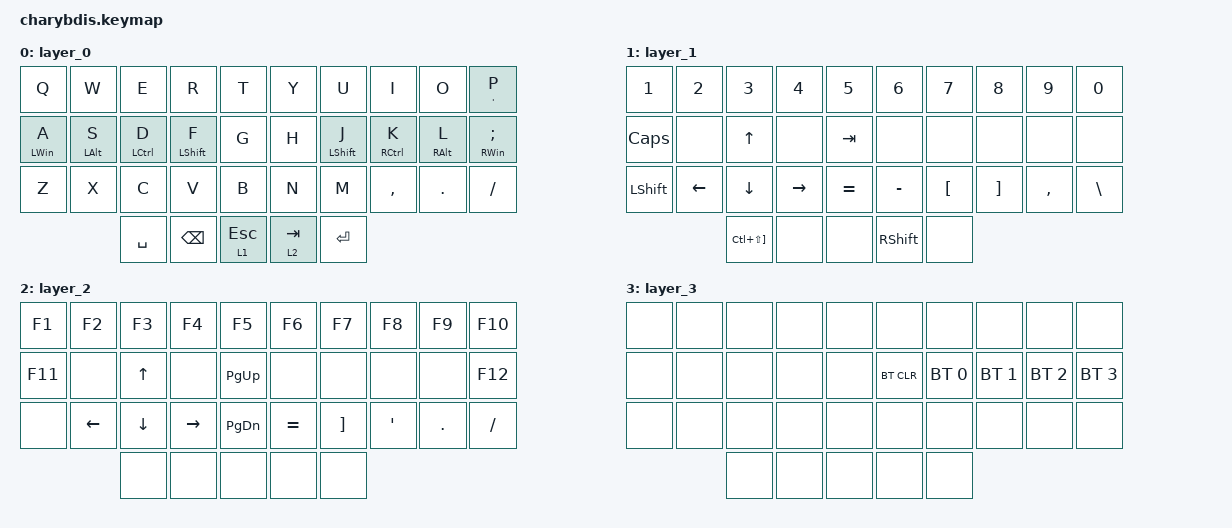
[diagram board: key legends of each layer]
#include <behaviors.dtsi>
#include <dt-bindings/zmk/bt.h>
#include <dt-bindings/zmk/keys.h>
#include <dt-bindings/zmk/pointing.h>
#include <dt-bindings/zmk/rgb.h>

&lt {
    tapping-term-ms = <200>;
    flavor = "balanced";
    quick-tap-ms = <150>;
};

/ {
    macros {
        To1_macro: To1_macro {
            compatible = "zmk,behavior-macro";
            label = "To1_macro";
            #binding-cells = <0>;
            bindings = <&rgb_ug RGB_EFF &rgb_ug RGB_COLOR_HSB(128,100,50) &to 1>;
        };

        To0_macro: To0_macro {
            compatible = "zmk,behavior-macro";
            label = "To0_macro";
            #binding-cells = <0>;
            bindings = <&rgb_ug RGB_EFR &to 0>;
        };

        To2_macro: To2_macro {
            compatible = "zmk,behavior-macro";
            label = "To2_macro";
            #binding-cells = <0>;
            bindings =
                <&to 0>,
                <&macro_wait_time 30>,
                <&rgb_ug RGB_COLOR_HSB(250,100,50)>;
        };
    };

    combos {
        compatible = "zmk,combos";

        leftclick {
            bindings = <&mkp LCLK>;
            key-positions = <26 27>;
        };

        rightclick {
            bindings = <&mkp RCLK>;
            key-positions = <27 28>;
        };

        midclick {
            bindings = <&mkp MCLK>;
            key-positions = <26 27 28>;
        };

        scroll-up {
            bindings = <&msc SCRL_UP>;
            key-positions = <7 8>;
        };

        scrldown {
            bindings = <&msc SCRL_DOWN>;
            key-positions = <17 18>;
        };

        next-tab {
            bindings = <&kp LC(TAB)>;
            key-positions = <7 6>;
        };

        prev-tab {
            bindings = <&kp LC(LS(TAB))>;
            key-positions = <16 17>;
        };

        screenshot {
            bindings = <&kp LC(LS(RIGHT_BRACKET))>;
            key-positions = <4 29>;
        };
    };

    keymap {
        compatible = "zmk,keymap";

        layer_0 {
            bindings = <
&kp Q           &kp W           &kp E        &kp R             &kp T           &kp Y      &kp U             &kp I        &kp O            &mt SQT P
&mt LEFT_WIN A  &mt LEFT_ALT S  &mt LCTRL D  &mt LEFT_SHIFT F  &kp G           &kp H      &mt LEFT_SHIFT J  &mt RCTRL K  &mt RIGHT_ALT L  &mt RWIN SEMICOLON
&kp Z           &kp X           &kp C        &kp V             &kp B           &kp N      &kp M             &kp COMMA    &kp DOT          &kp FSLH
                                &kp SPACE    &kp BACKSPACE     &lt 1 ESCAPE    &lt 2 TAB  &kp ENTER
            >;
        };

        layer_1 {
            bindings = <
&kp NUMBER_1    &kp NUMBER_2    &kp NUMBER_3               &kp NUMBER_4  &kp N5       &kp NUMBER_6     &kp N7            &kp N8             &kp N9     &kp N0
&kp CAPS        &none           &kp UP_ARROW               &none         &kp TAB      &none            &none             &none              &none      &none
&kp LEFT_SHIFT  &kp LEFT_ARROW  &kp DOWN                   &kp RIGHT     &kp EQUAL    &kp MINUS        &kp LEFT_BRACKET  &kp RIGHT_BRACKET  &kp COMMA  &kp BACKSLASH
                                &kp LC(LS(RIGHT_BRACKET))  &none         &none        &kp RIGHT_SHIFT  &none
            >;
        };

        layer_2 {
            bindings = <
&kp F1   &kp F2          &kp F3          &kp F4           &kp F5           &kp F6     &kp F7    &kp F8   &kp F9      &kp F10
&kp F11  &none           &kp UP_ARROW    &none            &kp PAGE_UP      &none      &none     &none    &none       &kp F12
&none    &kp LEFT_ARROW  &kp DOWN_ARROW  &kp RIGHT_ARROW  &kp PAGE_DOWN    &kp EQUAL  &kp RBKT  &kp SQT  &kp PERIOD  &kp SLASH
                         &none           &none            &none            &none      &none
            >;
        };

        layer_3 {
            bindings = <
&none  &none  &none  &none  &none    &none       &none         &none         &none         &none
&none  &none  &none  &none  &none    &bt BT_CLR  &bt BT_SEL 0  &bt BT_SEL 1  &bt BT_SEL 2  &bt BT_SEL 3
&none  &none  &none  &none  &none    &none       &none         &none         &none         &none
              &none  &none  &none    &none       &none
            >;
        };

        /* layer_2 {
            bindings = <
&none  &none   &none    &none   &none         &none         &kp N1         &none         &none     &none  &none   &to 0
&none  &none   &none    &none   &none         &none         &none         &none          &rgb_ug RGB_BRD &rgb_ug RGB_BRI  &rgb_ug RGB_EFF   &rgb_ug RGB_TOG
&none  &none   &none    &none   &none         &none         &none         &mkp LCLK     &mkp RCLK  &none  &none   &none
&none  &none   &none    &none   &bt BT_NXT  &bt BT_CLR    &none         &none         &none     &none  &none   &none
                                   &none         &none         &none         &none         &none
                                                 &none         &none         &none
            >;
       
            
        };

       Mouse {
            bindings = <
&none        &none         &none         &none         &none      &none         &none       &none      &none         &none         &none         &none
&none        &bt BT_SEL 0  &bt BT_SEL 1  &bt BT_SEL 3  &none      &bt BT_CLR    &bt BT_CLR  &none      &bt BT_SEL 2  &bt BT_SEL 1  &bt BT_SEL 0  &none
&none        &trans        &trans        &mkp MCLK     &trans     &none         &none       &trans     &mkp MCLK     &trans        &trans        &none
&bootloader  &trans        &mkp RCLK     &mo 4         &mkp LCLK  &mo 5         &mo 5       &mkp LCLK  &mo 4         &mkp RCLK     &trans        &bootloader
                                         &mo 5         &mkp LCLK  &mkp RCLK     &mkp RCLK   &mkp LCLK
                                                       &none      &trans        &trans
            >;

            
        };

        layer_4 {
            bindings = <
&trans  &trans  &trans     &trans     &trans     &trans       &trans     &trans     &trans     &trans     &trans  &trans
&trans  &trans  &trans     &trans     &trans     &trans       &trans     &trans     &trans     &trans     &trans  &trans
&trans  &trans  &trans     &mkp MCLK  &trans     &trans       &trans     &trans     &mkp MCLK  &trans     &trans  &trans
&trans  &trans  &mkp RCLK  &trans     &mkp LCLK  &trans       &trans     &mkp LCLK  &trans     &mkp RCLK  &trans  &trans
                           &trans     &mkp LCLK  &mkp RCLK    &mkp RCLK  &mkp LCLK
                                      &trans     &trans       &trans
            >;
                
                
               
        };

        layer_5 {
            bindings = <
&trans  &trans  &trans     &trans     &trans     &trans       &trans     &trans     &trans     &trans     &trans  &trans
&trans  &trans  &trans     &trans     &trans     &trans       &trans     &trans     &trans     &trans     &trans  &trans
&trans  &trans  &trans     &mkp MCLK  &trans     &trans       &trans     &trans     &mkp MCLK  &trans     &trans  &trans
&trans  &trans  &mkp RCLK  &trans     &mkp LCLK  &trans       &trans     &mkp LCLK  &trans     &mkp RCLK  &trans  &trans
                           &trans     &mkp LCLK  &mkp RCLK    &mkp RCLK  &mkp LCLK
                                      &trans     &trans       &trans
            >;
                
                
        };*/
    };
};
